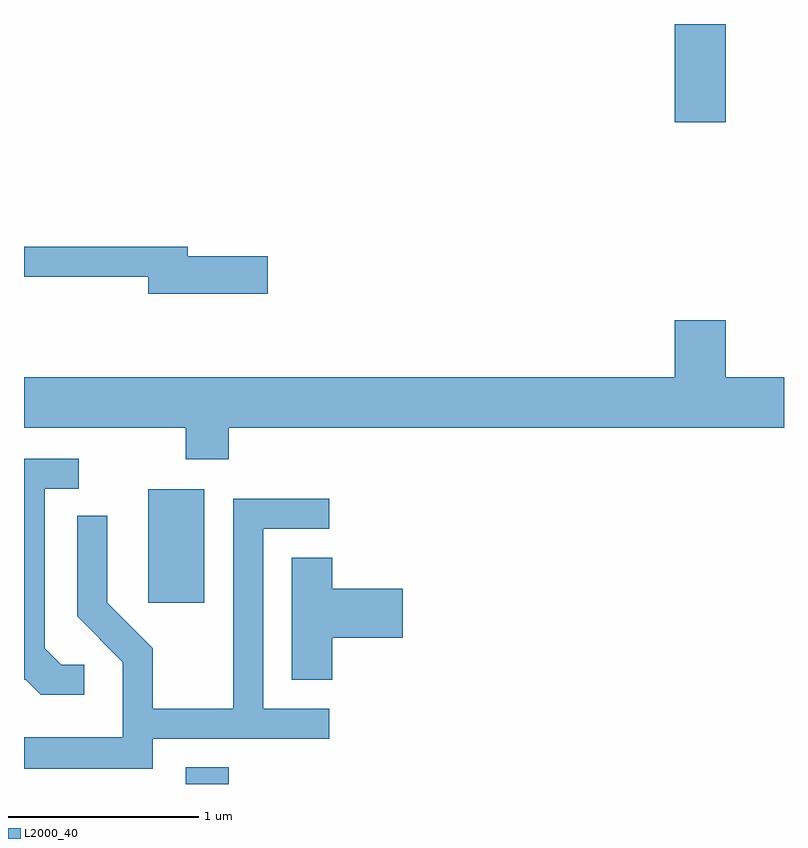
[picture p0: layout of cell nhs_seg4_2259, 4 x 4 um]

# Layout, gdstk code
import gdstk
lib = gdstk.Library(unit=1e-6, precision=1e-09)
def R(c, l, rs):  # rectangles x0, y0, x1, y1
    for r in rs: c.add(gdstk.rectangle(r[:2], r[2:], *l))
def P(c, l, *ps):  # polygons
    for p in ps: c.add(gdstk.Polygon(p, *l))
L2000_40 = (2000, 40)

nhs_seg4_2259 = lib.new_cell('nhs_seg4_2259')
R(nhs_seg4_2259, L2000_40, [(252.461,1283.982,252.689,1284.069), (252.266,1284.936,252.559,1285.534), (255.036,1287.466,255.304,1287.982)])
P(nhs_seg4_2259, L2000_40, [(252.894,1286.759),(252.474,1286.759),(252.474,1286.809),(251.611,1286.809),(251.611,1286.651),(252.266,1286.651),(252.266,1286.561),(252.894,1286.561)],
  [(252.689,1285.856),(255.611,1285.856),(255.611,1286.124),(255.304,1286.124),(255.304,1286.424),(255.036,1286.424),(255.036,1286.124),(251.611,1286.124),(251.611,1285.856),(252.461,1285.856),(252.461,1285.691),(252.689,1285.691)],
  [(251.928,1284.609),(251.807,1284.609),(251.719,1284.697),(251.719,1285.536),(251.898,1285.536),(251.898,1285.694),(251.611,1285.694),(251.611,1284.531),(251.619,1284.531),(251.699,1284.451),(251.928,1284.451)],
  [(252.289,1284.221),(253.218,1284.221),(253.218,1284.379),(252.869,1284.379),(252.869,1285.326),(253.218,1285.326),(253.218,1285.484),(252.711,1285.484),(252.711,1284.379),(252.289,1284.379),(252.289,1284.697),(252.049,1284.937),(252.049,1285.393),(251.891,1285.393),(251.891,1284.864),(252.131,1284.624),(252.131,1284.229),(251.611,1284.229),(251.611,1284.061),(252.289,1284.061)],
  [(253.234,1284.751),(253.604,1284.751),(253.604,1285.009),(253.234,1285.009),(253.234,1285.174),(253.021,1285.174),(253.021,1284.531),(253.234,1284.531)])

lib.write_gds('nhs_seg4_2259.gds')
